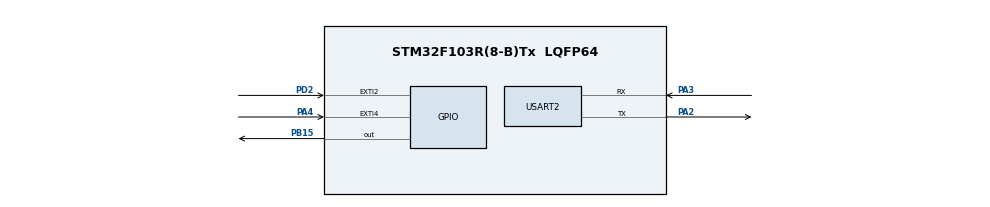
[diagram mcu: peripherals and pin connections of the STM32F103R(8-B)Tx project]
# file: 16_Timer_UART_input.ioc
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Mcu.Family=STM32F1
Mcu.Name=STM32F103R(8-B)Tx
Mcu.Package=LQFP64
NVIC.EXTI2_IRQn=true\:0\:0\:false\:false\:true\:true\:true\:true
NVIC.EXTI4_IRQn=true\:0\:0\:false\:false\:true\:true\:true\:true
NVIC.PriorityGroup=NVIC_PRIORITYGROUP_4
NVIC.RCC_IRQn=true\:0\:0\:false\:false\:true\:true\:false\:true
NVIC.TIM2_IRQn=true\:0\:0\:false\:false\:true\:true\:true\:true
NVIC.USART2_IRQn=true\:0\:0\:false\:false\:true\:true\:true\:true
PA2.Mode=Asynchronous
PA2.Signal=USART2_TX
PA3.Mode=Asynchronous
PA3.Signal=USART2_RX
PA4.GPIO_ModeDefaultEXTI=GPIO_MODE_IT_FALLING
PA4.Signal=GPXTI4
PB15.Signal=GPIO_Output
PC14-OSC32_IN.Mode=LSE-External-Oscillator
PC14-OSC32_IN.Signal=RCC_OSC32_IN
PC15-OSC32_OUT.Mode=LSE-External-Oscillator
PC15-OSC32_OUT.Signal=RCC_OSC32_OUT
PD0-OSC_IN.Mode=HSE-External-Clock-Source
PD0-OSC_IN.Signal=RCC_OSC_IN
PD1-OSC_OUT.Mode=HSE-External-Clock-Source
PD1-OSC_OUT.Signal=RCC_OSC_OUT
PD2.GPIO_ModeDefaultEXTI=GPIO_MODE_IT_FALLING
PD2.Signal=GPXTI2
ProjectManager.HeapSize=0x200
ProjectManager.StackSize=0x400
ProjectManager.TargetToolchain=STM32CubeIDE
RCC.APB1CLKDivider=RCC_HCLK_DIV4
RCC.APB1Freq_Value=2000000
RCC.APB1TimFreq_Value=4000000
RCC.APB2Freq_Value=8000000
TIM2.AutoReloadPreload=TIM_AUTORELOAD_PRELOAD_ENABLE
TIM2.Period=5000-1
TIM2.Prescaler=4000-1
USART2.VirtualMode=VM_ASYNC
VP_TIM2_VS_ClockSourceINT.Mode=Internal
board=custom

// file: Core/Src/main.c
/* USER CODE BEGIN Header */
/**
  ******************************************************************************
  * @file           : main.c
  * @brief          : Main program body
  ******************************************************************************
  * @attention
  *
  * Copyright (c) 2023 STMicroelectronics.
  * All rights reserved.
  *
  * This software is licensed under terms that can be found in the LICENSE file
  * in the root directory of this software component.
  * If no LICENSE file comes with this software, it is provided AS-IS.
  *
  ******************************************************************************
  */
/* USER CODE END Header */
#include "main.h"

/* USER CODE BEGIN Includes */
#include <stdio.h>
/* USER CODE END Includes */

/* USER CODE BEGIN PTD */
#define STATE_IDLE 0
#define STATE_RUN 1
/* USER CODE END PTD */

TIM_HandleTypeDef htim2;

UART_HandleTypeDef huart2;

/* USER CODE BEGIN PV */
uint8_t state = STATE_IDLE;
/* USER CODE END PV */

void SystemClock_Config(void);
static void MX_GPIO_Init(void);
static void MX_TIM2_Init(void);
static void MX_USART2_UART_Init(void);

/* USER CODE BEGIN 0 */
int __io_putchar(int ch) {
	HAL_UART_Transmit(&huart2, (uint8_t *)&ch, 1, 100);
	if(ch =='\n') {
		HAL_UART_Transmit(&huart2, (uint8_t *)'/r', 1, 100);
	}
	return ch;
}
/* USER CODE END 0 */

int main(void)
{

  /* MCU Configuration--------------------------------------------------------*/

  /* Reset of all peripherals, Initializes the Flash interface and the Systick. */
  HAL_Init();

  /* Configure the system clock */
  SystemClock_Config();

  /* Initialize all configured peripherals */
  MX_GPIO_Init();
  MX_TIM2_Init();
  MX_USART2_UART_Init();
  /* USER CODE BEGIN 2 */
  HAL_ADCEx_Calibration_Start(&hadc1);
  /* USER CODE END 2 */

  /* Infinite loop */
  /* USER CODE BEGIN WHILE */
  while (1)
  {
	  HAL_ADC_Start(&hadc1);
    /* USER CODE END WHILE */

  }
}

void SystemClock_Config(void)
{
  RCC_OscInitTypeDef RCC_OscInitStruct = {0};
  RCC_ClkInitTypeDef RCC_ClkInitStruct = {0};

  /** Initializes the RCC Oscillators according to the specified parameters
  * in the RCC_OscInitTypeDef structure.
  */
  RCC_OscInitStruct.OscillatorType = RCC_OSCILLATORTYPE_HSI;
  RCC_OscInitStruct.HSIState = RCC_HSI_ON;
  RCC_OscInitStruct.HSICalibrationValue = RCC_HSICALIBRATION_DEFAULT;
  RCC_OscInitStruct.PLL.PLLState = RCC_PLL_NONE;
  if (HAL_RCC_OscConfig(&RCC_OscInitStruct) != HAL_OK)
  {
    Error_Handler();
  }

  /** Initializes the CPU, AHB and APB buses clocks
  */
  RCC_ClkInitStruct.ClockType = RCC_CLOCKTYPE_HCLK|RCC_CLOCKTYPE_SYSCLK
                              |RCC_CLOCKTYPE_PCLK1|RCC_CLOCKTYPE_PCLK2;
  RCC_ClkInitStruct.SYSCLKSource = RCC_SYSCLKSOURCE_HSI;
  RCC_ClkInitStruct.AHBCLKDivider = RCC_SYSCLK_DIV1;
  RCC_ClkInitStruct.APB1CLKDivider = RCC_HCLK_DIV4;
  RCC_ClkInitStruct.APB2CLKDivider = RCC_HCLK_DIV1;

  if (HAL_RCC_ClockConfig(&RCC_ClkInitStruct, FLASH_LATENCY_0) != HAL_OK)
  {
    Error_Handler();
  }
}

static void MX_TIM2_Init(void)
{

  TIM_ClockConfigTypeDef sClockSourceConfig = {0};
  TIM_MasterConfigTypeDef sMasterConfig = {0};

  htim2.Instance = TIM2;
  htim2.Init.Prescaler = 4000-1;
  htim2.Init.CounterMode = TIM_COUNTERMODE_UP;
  htim2.Init.Period = 5000-1;
  htim2.Init.ClockDivision = TIM_CLOCKDIVISION_DIV1;
  htim2.Init.AutoReloadPreload = TIM_AUTORELOAD_PRELOAD_ENABLE;
  if (HAL_TIM_Base_Init(&htim2) != HAL_OK)
  {
    Error_Handler();
  }
  sClockSourceConfig.ClockSource = TIM_CLOCKSOURCE_INTERNAL;
  if (HAL_TIM_ConfigClockSource(&htim2, &sClockSourceConfig) != HAL_OK)
  {
    Error_Handler();
  }
  sMasterConfig.MasterOutputTrigger = TIM_TRGO_RESET;
  sMasterConfig.MasterSlaveMode = TIM_MASTERSLAVEMODE_DISABLE;
  if (HAL_TIMEx_MasterConfigSynchronization(&htim2, &sMasterConfig) != HAL_OK)
  {
    Error_Handler();
  }

}

static void MX_USART2_UART_Init(void)
{

  huart2.Instance = USART2;
  huart2.Init.BaudRate = 115200;
  huart2.Init.WordLength = UART_WORDLENGTH_8B;
  huart2.Init.StopBits = UART_STOPBITS_1;
  huart2.Init.Parity = UART_PARITY_NONE;
  huart2.Init.Mode = UART_MODE_TX_RX;
  huart2.Init.HwFlowCtl = UART_HWCONTROL_NONE;
  huart2.Init.OverSampling = UART_OVERSAMPLING_16;
  if (HAL_UART_Init(&huart2) != HAL_OK)
  {
    Error_Handler();
  }

}

static void MX_GPIO_Init(void)
{
  GPIO_InitTypeDef GPIO_InitStruct = {0};

  /* GPIO Ports Clock Enable */
  __HAL_RCC_GPIOC_CLK_ENABLE();
  __HAL_RCC_GPIOD_CLK_ENABLE();
  __HAL_RCC_GPIOA_CLK_ENABLE();
  __HAL_RCC_GPIOB_CLK_ENABLE();

  /*Configure GPIO pin Output Level */
  HAL_GPIO_WritePin(GPIOB, GPIO_PIN_15, GPIO_PIN_RESET);

  /*Configure GPIO pin : PA4 */
  GPIO_InitStruct.Pin = GPIO_PIN_4;
  GPIO_InitStruct.Mode = GPIO_MODE_IT_FALLING;
  GPIO_InitStruct.Pull = GPIO_NOPULL;
  HAL_GPIO_Init(GPIOA, &GPIO_InitStruct);

  /*Configure GPIO pin : PB15 */
  GPIO_InitStruct.Pin = GPIO_PIN_15;
  GPIO_InitStruct.Mode = GPIO_MODE_OUTPUT_PP;
  GPIO_InitStruct.Pull = GPIO_NOPULL;
  GPIO_InitStruct.Speed = GPIO_SPEED_FREQ_LOW;
  HAL_GPIO_Init(GPIOB, &GPIO_InitStruct);

  /*Configure GPIO pin : PD2 */
  GPIO_InitStruct.Pin = GPIO_PIN_2;
  GPIO_InitStruct.Mode = GPIO_MODE_IT_FALLING;
  GPIO_InitStruct.Pull = GPIO_NOPULL;
  HAL_GPIO_Init(GPIOD, &GPIO_InitStruct);

  /* EXTI interrupt init*/
  HAL_NVIC_SetPriority(EXTI2_IRQn, 0, 0);
  HAL_NVIC_EnableIRQ(EXTI2_IRQn);

  HAL_NVIC_SetPriority(EXTI4_IRQn, 0, 0);
  HAL_NVIC_EnableIRQ(EXTI4_IRQn);

}

/* USER CODE BEGIN 4 */
void HAL_GPIO_EXTI_Callback(uint16_t GPIO_pin){
	if(!HAL_GPIO_ReadPin(GPIOD, GPIO_PIN_2)){ // ON sw
		if(state == STATE_IDLE){ // 현재 상태가 IDLE일 때만 실행
			state = STATE_RUN; // RUN으로 상태 변경
			__HAL_TIM_SET_COUNTER(&htim2, 0); // 타이머 시간 재기
			HAL_TIM_Base_Start_IT(&htim2); // 타이머 시작
			HAL_GPIO_WritePin(GPIOB, GPIO_PIN_15, 1);
			printf("LED ON!\n");
		}
	}
	if(!HAL_GPIO_ReadPin(GPIOA, GPIO_PIN_4)){ // OFF sw
		if(state == STATE_RUN){ // 현재 상태가 RUN일 때만 실행
			state = STATE_IDLE; // IDLE로 상태 변경
			HAL_TIM_Base_Stop_IT(&htim2); // 타이머 끝내기
			HAL_GPIO_WritePin(GPIOB, GPIO_PIN_15, 0);
			printf("LED OFF! LED ON Time = %ld(ms)\n\n",__HAL_TIM_GET_COUNTER(&htim2)); // 타이머 시간 출력
		}
	}
}

void HAL_TIM_PeriodElapsedCallback(TIM_HandleTypeDef *htim){
	if(htim == &htim2){ // 만약 타이머가 5초가 되었다면 실행
		state = STATE_IDLE; // IDLE로 상태 변경
		HAL_TIM_Base_Stop_IT(&htim2); // 타이머 끝내기
		HAL_GPIO_WritePin(GPIOB, GPIO_PIN_15, RESET);
		printf("LED OFF! LED ON Time = %d(ms)\n\n",5000);
	}
}

/* USER CODE END 4 */

void Error_Handler(void)
{
  __disable_irq();
  while (1)
  {
  }
}
